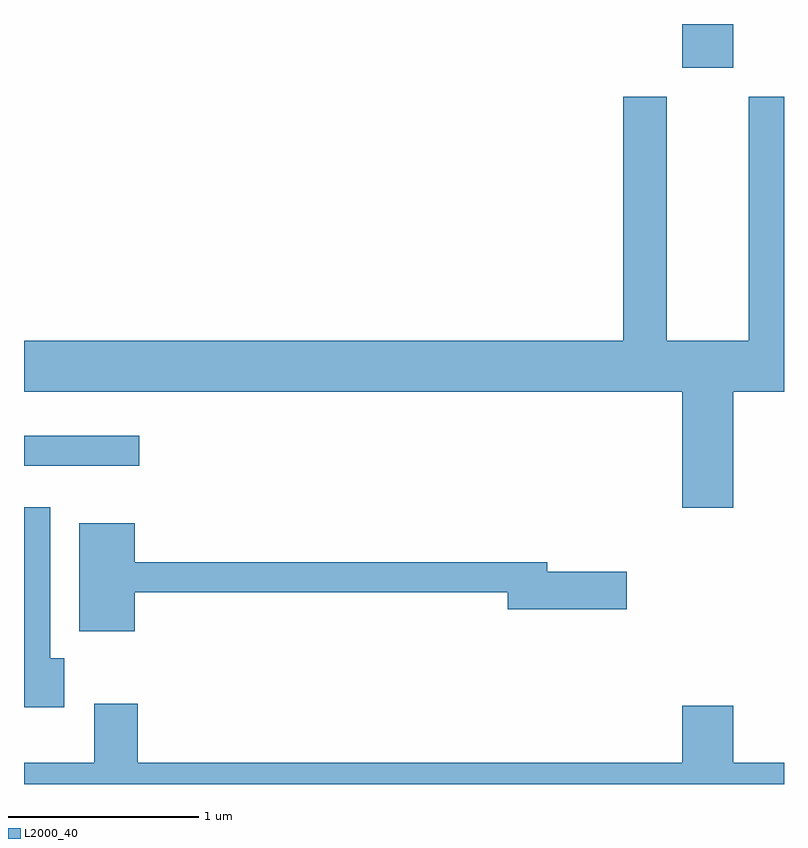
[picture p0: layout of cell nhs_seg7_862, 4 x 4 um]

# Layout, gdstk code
import gdstk
lib = gdstk.Library(unit=1e-6, precision=1e-09)
def R(c, l, rs):  # rectangles x0, y0, x1, y1
    for r in rs: c.add(gdstk.rectangle(r[:2], r[2:], *l))
def P(c, l, *ps):  # polygons
    for p in ps: c.add(gdstk.Polygon(p, *l))
L2000_40 = (2000, 40)

nhs_seg7_862 = lib.new_cell('nhs_seg7_862')
R(nhs_seg7_862, L2000_40, [(211.611,1713.926,212.218,1714.084), (215.076,1716.021,215.344,1716.252)])
P(nhs_seg7_862, L2000_40, [(215.344,1714.316),(215.611,1714.316),(215.611,1715.869),(215.426,1715.869),(215.426,1714.584),(214.994,1714.584),(214.994,1715.869),(214.766,1715.869),(214.766,1714.584),(211.611,1714.584),(211.611,1714.316),(215.076,1714.316),(215.076,1713.706),(215.344,1713.706)],
  [(211.824,1712.914),(211.749,1712.914),(211.749,1713.709),(211.611,1713.709),(211.611,1712.656),(211.824,1712.656)],
  [(212.194,1713.261),(214.156,1713.261),(214.156,1713.171),(214.784,1713.171),(214.784,1713.369),(214.364,1713.369),(214.364,1713.419),(212.194,1713.419),(212.194,1713.624),(211.901,1713.624),(211.901,1713.056),(212.194,1713.056)],
  [(215.611,1712.364),(215.344,1712.364),(215.344,1712.664),(215.076,1712.664),(215.076,1712.364),(212.209,1712.364),(212.209,1712.674),(211.981,1712.674),(211.981,1712.364),(211.611,1712.364),(211.611,1712.252),(215.611,1712.252)])

lib.write_gds('nhs_seg7_862.gds')
